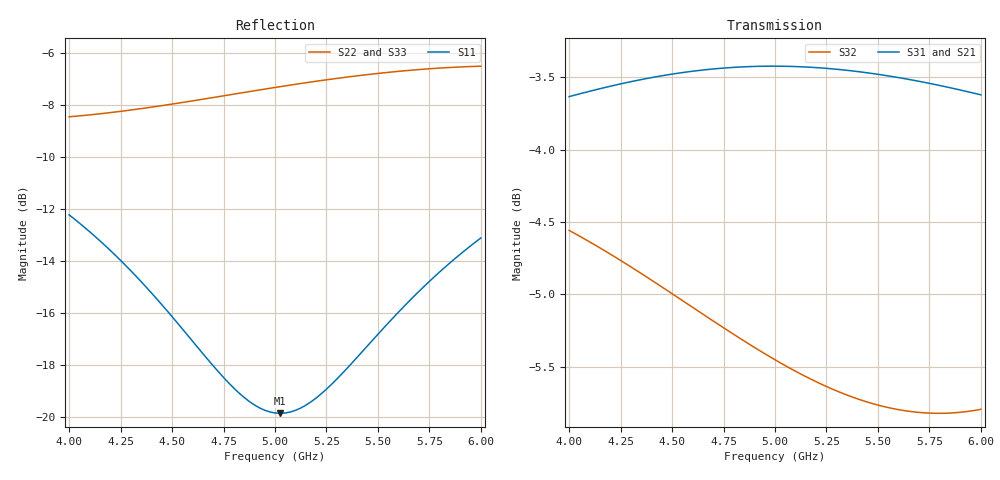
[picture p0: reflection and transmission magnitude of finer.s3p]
! yapnr rf: divider-osh-w-star-s21, footprint re-simulated (refine 3)
! spec sha256 6a0819c2165f1f3fb6c0d0ea0c815247ba98a17c61dd25aaa3f8939cffdd7012
! 3 ports renormalized to 50 ohm, e^(+jwt) convention
# GHz S RI R 50
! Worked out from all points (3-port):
!   81 points, 4 GHz to 6 GHz, reference 50 ohm
!   strongest paths, dB at 4 GHz, 4.5 GHz, 5 GHz, 5.5 GHz, 6 GHz:
!     S31: -3.6, -3.5, -3.4, -3.5, -3.6
!     S21: -3.6, -3.5, -3.4, -3.5, -3.6
!     S32: -4.6, -5.0, -5.5, -5.8, -5.8
!   lowest |S11| = -19.9 dB at 5.025 GHz (marker M1), VSWR 1.23, Z = 60.7 - j3.39 ohm
!   |S11| at or under -10 dB: start of sweep to end of sweep
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4  0.0187 0.2438  -0.6401 -0.1534  -0.6401 -0.1534
   -0.6397 -0.1543  0.3619 -0.1074  -0.4977 0.3199
   -0.6397 -0.1543  -0.4977 0.3199  0.3619 -0.1074
4.25  0.0655 0.1888  -0.6643 -0.0222  -0.6643 -0.0222
      -0.6643 -0.0236  0.3155 -0.2236  -0.4019 0.415
      -0.6643 -0.0236  -0.4019 0.415  0.3155 -0.2236
4.5  0.0961 0.1227  -0.6595 0.1146  -0.6595 0.1146
     -0.6603 0.1129  0.2362 -0.322  -0.2916 0.4811
     -0.6603 0.1129  -0.2916 0.4811  0.2362 -0.322
4.825  0.1073 0.029  -0.6074 0.2886  -0.6074 0.2886
       -0.6095 0.287  0.0954 -0.4079  -0.1417 0.5245
       -0.6095 0.287  -0.1417 0.5245  0.0954 -0.4079
5  0.0996 -0.0207  -0.5584 0.3748  -0.5584 0.3748
   -0.5612 0.3736  0.00883 -0.4297  -0.0629 0.5301
   -0.5612 0.3736  -0.0629 0.5301  0.00883 -0.4297
5.025  0.0977 -0.0276  -0.5503 0.3865  -0.5503 0.3865
       -0.5532 0.3854  -0.00383 -0.4314  -0.0519 0.53
       -0.5532 0.3854  -0.0519 0.53  -0.00383 -0.4314
5.2  0.0799 -0.0736  -0.4864 0.4627  -0.4864 0.4627
     -0.4898 0.4622  -0.0929 -0.432  0.0232 0.5241
     -0.4898 0.4622  0.0232 0.5241  -0.0929 -0.432
5.475  0.0373 -0.1355  -0.3642 0.5594  -0.3642 0.5594
       -0.3679 0.5602  -0.2268 -0.3959  0.1329 0.4981
       -0.3679 0.5602  0.1329 0.4981  -0.2268 -0.3959
5.75  -0.018 -0.1812  -0.223 0.623  -0.223 0.623
      -0.2265 0.6253  -0.3406 -0.3194  0.2327 0.4557
      -0.2265 0.6253  0.2327 0.4557  -0.3406 -0.3194
6  -0.0742 -0.2079  -0.0862 0.6495  -0.0862 0.6495
   -0.0888 0.653  -0.4165 -0.2229  0.3157 0.4047
   -0.0888 0.653  0.3157 0.4047  -0.4165 -0.2229
